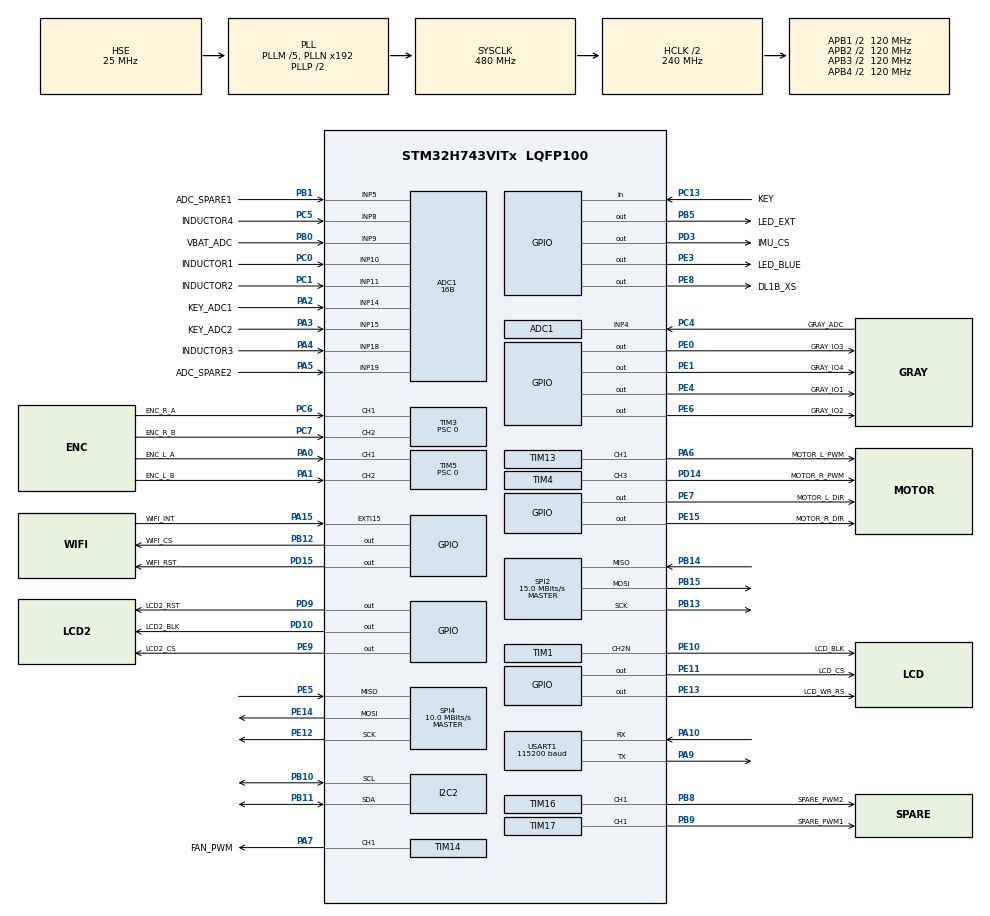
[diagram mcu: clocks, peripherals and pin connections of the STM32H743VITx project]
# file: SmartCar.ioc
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ADC1.Channel-0\#ChannelRegularConversion=ADC_CHANNEL_10
ADC1.Channel-1\#ChannelRegularConversion=ADC_CHANNEL_11
ADC1.Channel-2\#ChannelRegularConversion=ADC_CHANNEL_18
ADC1.Channel-3\#ChannelRegularConversion=ADC_CHANNEL_8
ADC1.Channel-4\#ChannelRegularConversion=ADC_CHANNEL_4
ADC1.Channel-5\#ChannelRegularConversion=ADC_CHANNEL_14
ADC1.Channel-6\#ChannelRegularConversion=ADC_CHANNEL_15
ADC1.Channel-7\#ChannelRegularConversion=ADC_CHANNEL_9
ADC1.Channel-8\#ChannelRegularConversion=ADC_CHANNEL_5
ADC1.Channel-9\#ChannelRegularConversion=ADC_CHANNEL_19
ADC1.ClockPrescaler=ADC_CLOCK_ASYNC_DIV2
ADC1.ContinuousConvMode=ENABLE
ADC1.ConversionDataManagement=ADC_CONVERSIONDATA_DMA_CIRCULAR
ADC1.EOCSelection=ADC_EOC_SEQ_CONV
ADC1.NbrOfConversion=10
ADC1.NbrOfConversionFlag=1
ADC1.Rank-0\#ChannelRegularConversion=1
ADC1.Rank-1\#ChannelRegularConversion=2
ADC1.Rank-2\#ChannelRegularConversion=3
ADC1.Rank-3\#ChannelRegularConversion=4
ADC1.Rank-4\#ChannelRegularConversion=5
ADC1.Rank-5\#ChannelRegularConversion=6
ADC1.Rank-6\#ChannelRegularConversion=7
ADC1.Rank-7\#ChannelRegularConversion=8
ADC1.Rank-8\#ChannelRegularConversion=9
ADC1.Rank-9\#ChannelRegularConversion=10
ADC1.Resolution=ADC_RESOLUTION_16B
ADC1.SamplingTime-0\#ChannelRegularConversion=ADC_SAMPLETIME_16CYCLES_5
ADC1.SamplingTime-1\#ChannelRegularConversion=ADC_SAMPLETIME_16CYCLES_5
ADC1.SamplingTime-2\#ChannelRegularConversion=ADC_SAMPLETIME_16CYCLES_5
ADC1.SamplingTime-3\#ChannelRegularConversion=ADC_SAMPLETIME_16CYCLES_5
ADC1.SamplingTime-4\#ChannelRegularConversion=ADC_SAMPLETIME_16CYCLES_5
ADC1.SamplingTime-5\#ChannelRegularConversion=ADC_SAMPLETIME_16CYCLES_5
ADC1.SamplingTime-6\#ChannelRegularConversion=ADC_SAMPLETIME_16CYCLES_5
ADC1.SamplingTime-7\#ChannelRegularConversion=ADC_SAMPLETIME_16CYCLES_5
ADC1.SamplingTime-8\#ChannelRegularConversion=ADC_SAMPLETIME_16CYCLES_5
ADC1.SamplingTime-9\#ChannelRegularConversion=ADC_SAMPLETIME_16CYCLES_5
ADC1.ScanConvMode=ADC_SCAN_ENABLE
ADC1.master=1
CORTEX_M7.CPU_DCache=Disabled
CORTEX_M7.CPU_ICache=Enabled
Dma.ADC1.0.Direction=DMA_PERIPH_TO_MEMORY
Dma.ADC1.0.EventEnable=DISABLE
Dma.ADC1.0.FIFOMode=DMA_FIFOMODE_DISABLE
Dma.ADC1.0.Instance=DMA1_Stream0
Dma.ADC1.0.MemDataAlignment=DMA_MDATAALIGN_HALFWORD
Dma.ADC1.0.MemInc=DMA_MINC_ENABLE
Dma.ADC1.0.Mode=DMA_CIRCULAR
Dma.ADC1.0.PeriphDataAlignment=DMA_PDATAALIGN_HALFWORD
Dma.ADC1.0.PeriphInc=DMA_PINC_DISABLE
Dma.ADC1.0.Polarity=HAL_DMAMUX_REQ_GEN_RISING
Dma.ADC1.0.Priority=DMA_PRIORITY_HIGH
Dma.ADC1.0.RequestNumber=1
Dma.ADC1.0.SignalID=NONE
Dma.ADC1.0.SyncEnable=DISABLE
Dma.ADC1.0.SyncPolarity=HAL_DMAMUX_SYNC_NO_EVENT
Dma.ADC1.0.SyncRequestNumber=1
Dma.ADC1.0.SyncSignalID=NONE
Dma.Request0=ADC1
I2C2.Timing=0x50921113
Mcu.Family=STM32H7
Mcu.Name=STM32H743VITx
Mcu.Package=LQFP100
NVIC.DMA1_Stream0_IRQn=true\:2\:0\:false\:false\:true\:false\:true\:true
NVIC.EXTI15_10_IRQn=true\:4\:0\:false\:false\:true\:false\:true\:true
NVIC.PriorityGroup=NVIC_PRIORITYGROUP_4
NVIC.TIM6_DAC_IRQn=true\:0\:0\:false\:false\:true\:false\:true\:true
NVIC.TIM7_IRQn=true\:1\:0\:false\:false\:true\:false\:true\:true
NVIC.USART1_IRQn=true\:3\:0\:false\:false\:true\:false\:true\:true
PA0.GPIO_Label=ENC_L_A
PA0.GPIO_PuPd=GPIO_PULLUP
PA0.Signal=S_TIM5_CH1
PA1.GPIO_Label=ENC_L_B
PA1.GPIO_PuPd=GPIO_PULLUP
PA1.Signal=S_TIM5_CH2
PA10.Mode=Asynchronous
PA10.Signal=USART1_RX
PA13\ (JTMS/SWDIO).Mode=Serial_Wire
PA13\ (JTMS/SWDIO).Signal=DEBUG_JTMS-SWDIO
PA14\ (JTCK/SWCLK).Mode=Serial_Wire
PA14\ (JTCK/SWCLK).Signal=DEBUG_JTCK-SWCLK
PA15\ (JTDI).GPIO_Label=WIFI_INT
PA15\ (JTDI).GPIO_ModeDefaultEXTI=GPIO_MODE_IT_FALLING
PA15\ (JTDI).GPIO_PuPd=GPIO_PULLUP
PA15\ (JTDI).Signal=GPXTI15
PA2.GPIO_Label=KEY_ADC1
PA2.Signal=ADCx_INP14
PA3.GPIO_Label=KEY_ADC2
PA3.Signal=ADCx_INP15
PA4.GPIO_Label=INDUCTOR3
PA4.Signal=ADCx_INP18
PA5.GPIO_Label=ADC_SPARE2
PA5.Signal=ADCx_INP19
PA6.GPIO_Label=MOTOR_L_PWM
PA6.Signal=S_TIM13_CH1
PA7.GPIO_Label=FAN_PWM
PA7.Signal=S_TIM14_CH1
PA9.Mode=Asynchronous
PA9.Signal=USART1_TX
PB0.GPIO_Label=VBAT_ADC
PB0.Signal=ADCx_INP9
PB1.GPIO_Label=ADC_SPARE1
PB1.Signal=ADCx_INP5
PB10.GPIO_Pu=GPIO_PULLUP
PB10.Mode=I2C
PB10.Signal=I2C2_SCL
PB11.GPIO_Pu=GPIO_PULLUP
PB11.Mode=I2C
PB11.Signal=I2C2_SDA
PB12.GPIO_Label=WIFI_CS
PB12.PinState=GPIO_PIN_SET
PB12.Signal=GPIO_Output
PB13.Mode=Full_Duplex_Master
PB13.Signal=SPI2_SCK
PB13.GPIO_Speed=GPIO_SPEED_FREQ_VERY_HIGH
PB14.Mode=Full_Duplex_Master
PB14.Signal=SPI2_MISO
PB14.GPIO_Speed=GPIO_SPEED_FREQ_VERY_HIGH
PB15.Mode=Full_Duplex_Master
PB15.Signal=SPI2_MOSI
PB15.GPIO_Speed=GPIO_SPEED_FREQ_VERY_HIGH
PB5.GPIO_Label=LED_EXT
PB5.PinState=GPIO_PIN_RESET
PB5.Signal=GPIO_Output
PB8.GPIO_Label=SPARE_PWM2
PB8.Signal=S_TIM16_CH1
PB9.GPIO_Label=SPARE_PWM1
PB9.Signal=S_TIM17_CH1
PC0.GPIO_Label=INDUCTOR1
PC0.Signal=ADCx_INP10
PC1.GPIO_Label=INDUCTOR2
PC1.Signal=ADCx_INP11
PC13.GPIO_Label=KEY
PC13.GPIO_PuPd=GPIO_PULLDOWN
PC13.Signal=GPIO_Input
PC14-OSC32_IN\ (OSC32_IN).Mode=LSE-External-Oscillator
PC14-OSC32_IN\ (OSC32_IN).Signal=RCC_OSC32_IN
PC15-OSC32_OUT\ (OSC32_OUT).Mode=LSE-External-Oscillator
PC15-OSC32_OUT\ (OSC32_OUT).Signal=RCC_OSC32_OUT
PC4.GPIO_Label=GRAY_ADC
PC4.Signal=ADCx_INP4
PC5.GPIO_Label=INDUCTOR4
PC5.Signal=ADCx_INP8
PC6.GPIO_Label=ENC_R_A
PC6.GPIO_PuPd=GPIO_PULLUP
PC6.Signal=S_TIM3_CH1
PC7.GPIO_Label=ENC_R_B
PC7.GPIO_PuPd=GPIO_PULLUP
PC7.Signal=S_TIM3_CH2
PD10.GPIO_Label=LCD2_BLK
PD10.PinState=GPIO_PIN_SET
PD10.Signal=GPIO_Output
PD14.GPIO_Label=MOTOR_R_PWM
PD14.Signal=S_TIM4_CH3
PD15.GPIO_Label=WIFI_RST
PD15.PinState=GPIO_PIN_SET
PD15.Signal=GPIO_Output
PD3.GPIO_Label=IMU_CS
PD3.PinState=GPIO_PIN_SET
PD3.Signal=GPIO_Output
PD9.GPIO_Label=LCD2_RST
PD9.PinState=GPIO_PIN_SET
PD9.Signal=GPIO_Output
PE0.GPIO_Label=GRAY_IO3
PE0.Signal=GPIO_Output
PE1.GPIO_Label=GRAY_IO4
PE1.Signal=GPIO_Output
PE10.GPIO_Label=LCD_BLK
PE10.Mode=PWM Generation2 CH2N
PE10.Signal=TIM1_CH2N
PE11.GPIO_Label=LCD_CS
PE11.GPIO_Speed=GPIO_SPEED_FREQ_VERY_HIGH
PE11.PinState=GPIO_PIN_SET
PE11.Signal=GPIO_Output
PE12.Mode=Full_Duplex_Master
PE12.Signal=SPI4_SCK
PE12.GPIO_Speed=GPIO_SPEED_FREQ_VERY_HIGH
PE13.GPIO_Label=LCD_WR_RS
PE13.GPIO_Speed=GPIO_SPEED_FREQ_VERY_HIGH
PE13.PinState=GPIO_PIN_SET
PE13.Signal=GPIO_Output
PE14.Mode=Full_Duplex_Master
PE14.Signal=SPI4_MOSI
PE14.GPIO_Speed=GPIO_SPEED_FREQ_VERY_HIGH
PE15.GPIO_Label=MOTOR_R_DIR
PE15.PinState=GPIO_PIN_RESET
PE15.Signal=GPIO_Output
PE3.GPIO_Label=LED_BLUE
PE3.PinState=GPIO_PIN_RESET
PE3.Signal=GPIO_Output
PE4.GPIO_Label=GRAY_IO1
PE4.Signal=GPIO_Output
PE5.Mode=Full_Duplex_Master
PE5.Signal=SPI4_MISO
PE5.GPIO_Speed=GPIO_SPEED_FREQ_VERY_HIGH
PE6.GPIO_Label=GRAY_IO2
PE6.Signal=GPIO_Output
PE7.GPIO_Label=MOTOR_L_DIR
PE7.PinState=GPIO_PIN_RESET
PE7.Signal=GPIO_Output
PE8.GPIO_Label=DL1B_XS
PE8.PinState=GPIO_PIN_RESET
PE8.Signal=GPIO_Output
PE9.GPIO_Label=LCD2_CS
PE9.PinState=GPIO_PIN_SET
PE9.Signal=GPIO_Output
PH0-OSC_IN\ (PH0).Mode=HSE-External-Oscillator
PH0-OSC_IN\ (PH0).Signal=RCC_OSC_IN
PH1-OSC_OUT\ (PH1).Mode=HSE-External-Oscillator
PH1-OSC_OUT\ (PH1).Signal=RCC_OSC_OUT
ProjectManager.HeapSize=0x200
ProjectManager.StackSize=0x400
ProjectManager.TargetToolchain=MDK-ARM V5.27
RCC.ADCFreq_Value=83333333.33333333
RCC.APB1Freq_Value=120000000
RCC.APB2Freq_Value=120000000
RCC.APB3Freq_Value=120000000
RCC.APB4Freq_Value=120000000
RCC.CortexFreq_Value=480000000
RCC.DIVM1=5
RCC.DIVM2=6
RCC.DIVN1=192
RCC.DIVN2=40
RCC.DIVQ2=1
RCC.HCLKFreq_Value=240000000
RCC.HPRE=RCC_HCLK_DIV2
RCC.APB1CLKDivider=RCC_APB1_DIV2
RCC.APB2CLKDivider=RCC_APB2_DIV2
RCC.APB3CLKDivider=RCC_APB3_DIV2
RCC.APB4CLKDivider=RCC_APB4_DIV2
RCC.HSE_VALUE=25000000
RCC.PLLFRACN=0
RCC.PLLSourceVirtual=RCC_PLLSOURCE_HSE
RCC.PWR_Regulator_Voltage_Scale=PWR_REGULATOR_VOLTAGE_SCALE0
RCC.RTCClockSelection=RCC_RTCCLKSOURCE_LSE
RCC.SYSCLKFreq_VALUE=480000000
RCC.SYSCLKSource=RCC_SYSCLKSOURCE_PLLCLK
RCC.USBFreq_Value=240000000
SH.ADCx_INP10.0=ADC1_INP10,IN10-Single-Ended
SH.ADCx_INP11.0=ADC1_INP11,IN11-Single-Ended
SH.ADCx_INP14.0=ADC1_INP14,IN14-Single-Ended
SH.ADCx_INP15.0=ADC1_INP15,IN15-Single-Ended
SH.ADCx_INP18.0=ADC1_INP18,IN18-Single-Ended
SH.ADCx_INP19.0=ADC1_INP19,IN19-Single-Ended
SH.ADCx_INP4.0=ADC1_INP4,IN4-Single-Ended
SH.ADCx_INP5.0=ADC1_INP5,IN5-Single-Ended
SH.ADCx_INP8.0=ADC1_INP8,IN8-Single-Ended
SH.ADCx_INP9.0=ADC1_INP9,IN9-Single-Ended
SH.S_TIM13_CH1.0=TIM13_CH1,PWM Generation1 CH1
SH.S_TIM14_CH1.0=TIM14_CH1,PWM Generation1 CH1
SH.S_TIM16_CH1.0=TIM16_CH1,PWM Generation1 CH1
SH.S_TIM17_CH1.0=TIM17_CH1,PWM Generation1 CH1
SH.S_TIM3_CH1.0=TIM3_CH1,Encoder_Interface
SH.S_TIM3_CH2.0=TIM3_CH2,Encoder_Interface
SH.S_TIM4_CH3.0=TIM4_CH3,PWM Generation3 CH3
SH.S_TIM5_CH1.0=TIM5_CH1,Encoder_Interface
SH.S_TIM5_CH2.0=TIM5_CH2,Encoder_Interface
SPI2.BaudRatePrescaler=SPI_BAUDRATEPRESCALER_32
SPI2.CalculateBaudRate=15.0 MBits/s
SPI2.DataSize=SPI_DATASIZE_8BIT
SPI2.Direction=SPI_DIRECTION_2LINES
SPI2.Mode=SPI_MODE_MASTER
SPI2.VirtualType=VM_MASTER
SPI4.BaudRatePrescaler=SPI_BAUDRATEPRESCALER_8
SPI4.CalculateBaudRate=10.0 MBits/s
SPI4.DataSize=SPI_DATASIZE_8BIT
SPI4.Direction=SPI_DIRECTION_2LINES
SPI4.Mode=SPI_MODE_MASTER
SPI4.VirtualType=VM_MASTER
TIM1.Channel-PWM\ Generation2\ CH2N=TIM_CHANNEL_2
TIM1.OCNPolarity_2=TIM_OCNPOLARITY_LOW
TIM1.Period=1000-1
TIM1.Prescaler=24-1
TIM1.Pulse-PWM\ Generation2\ CH2N=0
TIM13.Channel=TIM_CHANNEL_1
TIM13.Channel-PWM\ Generation1\ CH1=TIM_CHANNEL_1
TIM13.Period=7059-1
TIM13.Prescaler=2-1
TIM13.Pulse-PWM\ Generation1\ CH1=0
TIM14.Channel=TIM_CHANNEL_1
TIM14.Channel-PWM\ Generation1\ CH1=TIM_CHANNEL_1
TIM14.Period=7059-1
TIM14.Prescaler=2-1
TIM14.Pulse-PWM\ Generation1\ CH1=0
TIM16.Channel=TIM_CHANNEL_1
TIM16.Channel-PWM\ Generation1\ CH1=TIM_CHANNEL_1
TIM16.Period=7059-1
TIM16.Prescaler=2-1
TIM16.Pulse-PWM\ Generation1\ CH1=0
TIM17.Channel=TIM_CHANNEL_1
TIM17.Channel-PWM\ Generation1\ CH1=TIM_CHANNEL_1
TIM17.Period=7059-1
TIM17.Prescaler=2-1
TIM17.Pulse-PWM\ Generation1\ CH1=0
TIM3.EncoderMode=TIM_ENCODERMODE_TI12
TIM3.IC1Filter=6
TIM3.IC1Polarity=TIM_ICPOLARITY_RISING
TIM3.IC1Prescaler=TIM_ICPSC_DIV1
TIM3.IC1Selection=TIM_ICSELECTION_DIRECTTI
TIM3.IC2Filter=6
TIM3.IC2Polarity=TIM_ICPOLARITY_RISING
TIM3.IC2Prescaler=TIM_ICPSC_DIV1
TIM3.IC2Selection=TIM_ICSELECTION_DIRECTTI
TIM3.Period=65535
TIM3.Prescaler=0
TIM4.Channel-PWM\ Generation3\ CH3=TIM_CHANNEL_3
TIM4.Period=7059-1
TIM4.Prescaler=2-1
TIM4.Pulse-PWM\ Generation3\ CH3=0
TIM5.EncoderMode=TIM_ENCODERMODE_TI12
TIM5.IC1Filter=6
TIM5.IC1Polarity=TIM_ICPOLARITY_RISING
TIM5.IC1Prescaler=TIM_ICPSC_DIV1
TIM5.IC1Selection=TIM_ICSELECTION_DIRECTTI
TIM5.IC2Filter=6
TIM5.IC2Polarity=TIM_ICPOLARITY_RISING
TIM5.IC2Prescaler=TIM_ICPSC_DIV1
TIM5.IC2Selection=TIM_ICSELECTION_DIRECTTI
TIM5.Period=65535
TIM5.Prescaler=0
TIM6.Period=2000-1
TIM6.Prescaler=240-1
TIM7.Period=5000-1
TIM7.Prescaler=240-1
USART1.BaudRate=115200
USART1.VirtualMode-Asynchronous=VM_ASYNC
VP_TIM13_VS_ClockSourceINT.Mode=Enable_Timer
VP_TIM14_VS_ClockSourceINT.Mode=Enable_Timer
VP_TIM16_VS_ClockSourceINT.Mode=Enable_Timer
VP_TIM17_VS_ClockSourceINT.Mode=Enable_Timer
VP_TIM6_VS_ClockSourceINT.Mode=Enable_Timer
VP_TIM7_VS_ClockSourceINT.Mode=Enable_Timer
VP_VREFBUF_V_VREFBUF.Mode=ExternalMode
board=custom

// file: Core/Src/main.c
/* USER CODE BEGIN Header */
/**
  ******************************************************************************
  * @file           : main.c
  * @brief          : 主程序主体
 * @note Core用户区在PLL3补丁后分派独立板测，NONE桥接原App；生成区及ST版权/许可保持。
  ******************************************************************************
  * @attention
  *
  * Copyright (c) 2026 STMicroelectronics.
  * All rights reserved.
  *
  * This software is licensed under terms that can be found in the LICENSE file
  * in the root directory of this software component.
  * If no LICENSE file comes with this software, it is provided AS-IS.
  *
  ******************************************************************************
  */
/* USER CODE END Header */
/* 包含头文件 ------------------------------------------------------------------*/
#include "main.h"
#include "adc.h"
#include "dma.h"
#include "i2c.h"
#include "spi.h"
#include "tim.h"
#include "usart.h"
#include "gpio.h"

/* 私有包含 ----------------------------------------------------------*/
/* USER CODE BEGIN Includes */
#include "app.h"
#include "system/board_test.h"
/* USER CODE END Includes */

/* 私有类型定义 -----------------------------------------------------------*/

/* 私有定义 ------------------------------------------------------------*/

/* 私有宏 -------------------------------------------------------------*/

/* 私有变量 ---------------------------------------------------------*/

/* 私有函数原型 -----------------------------------------------*/
void SystemClock_Config(void);

/* 私有用户代码 ---------------------------------------------------------*/

/**
  * @brief  应用程序入口点。
  * @retval int
  */
int main(void)
{

  /* 使能 CPU 缓存 */

  /* 使能 I-Cache---------------------------------------------------------*/
  SCB_EnableICache();

  /* MCU 配置--------------------------------------------------------*/

  /* 复位所有外设，初始化 Flash 接口和 SysTick 系统滴答定时器。 */
  HAL_Init();

  /* 配置系统时钟 */
  SystemClock_Config();

  /* USER CODE BEGIN SysInit */
    /* SPI4/SPI5 内核时钟改接 PLL3Q=80MHz（HSE25/M5×N64/Q4），SPI4 8 分频得 10MHz
       *（IMU660RB/LSM6DSR SPI 上限 10MHz；原 APB4 120MHz÷16=7.5MHz） */
    {
        RCC_PeriphCLKInitTypeDef periph_clk_init = {0};
        periph_clk_init.PeriphClockSelection = RCC_PERIPHCLK_SPI45;
        periph_clk_init.PLL3.PLL3M = 5;
        periph_clk_init.PLL3.PLL3N = 64; /* VCO 320MHz */
        periph_clk_init.PLL3.PLL3P = 2;
        periph_clk_init.PLL3.PLL3Q = 4; /* PLL3Q = 80MHz */
        periph_clk_init.PLL3.PLL3R = 2;
        periph_clk_init.PLL3.PLL3RGE = RCC_PLL3VCIRANGE_2;   /* 输入 5MHz */
        periph_clk_init.PLL3.PLL3VCOSEL = RCC_PLL3VCOMEDIUM; /* 320MHz 中等 VCO */
        periph_clk_init.PLL3.PLL3FRACN = 0;
        periph_clk_init.Spi45ClockSelection = RCC_SPI45CLKSOURCE_PLL3;
        if (HAL_RCCEx_PeriphCLKConfig(&periph_clk_init) != HAL_OK)
        {
            Error_Handler();
        }
        /* 实测 HAL_RCCEx_PeriphCLKConfig 未生效（D2CCIP1R.SPI45SEL 读出为 0），
         * 此处直接写复用选择寄存器，SPI4/5 内核时钟 = PLL3Q 80MHz */
        MODIFY_REG(RCC->D2CCIP1R, RCC_D2CCIP1R_SPI45SEL, RCC_SPI45CLKSOURCE_PLL3);
    }
#if BOARD_TEST_SELECT != BOARD_TEST_NONE
    BoardTest_Run();
    while (1)
    {
        /* 独立测试意外返回时仍不进入正常启动。 */
    }
#endif
  /* USER CODE END SysInit */

  /* 初始化所有已配置的外设 */
  MX_GPIO_Init();
  MX_DMA_Init();
  MX_ADC1_Init();
  MX_I2C2_Init();
  MX_SPI2_Init();
  MX_SPI4_Init();
  MX_TIM1_Init();
  MX_TIM3_Init();
  MX_TIM4_Init();
  MX_TIM5_Init();
  MX_TIM6_Init();
  MX_TIM7_Init();
  MX_TIM13_Init();
  MX_TIM14_Init();
  MX_TIM16_Init();
  MX_TIM17_Init();
  MX_USART1_UART_Init();
  /* USER CODE BEGIN 2 */
    App_Init();
  /* USER CODE END 2 */

  /* 无限循环 */
  /* USER CODE BEGIN WHILE */
    while (1)
    {
        App_Loop();
    /* USER CODE END WHILE */

    }
}

/**
  * @brief 系统时钟配置
  * @retval None
  */
void SystemClock_Config(void)
{
  RCC_OscInitTypeDef RCC_OscInitStruct = {0};
  RCC_ClkInitTypeDef RCC_ClkInitStruct = {0};

  /** 使能供电配置更新
  */
  HAL_PWREx_ConfigSupply(PWR_LDO_SUPPLY);

  /** 配置主内部稳压器输出电压
  */
  __HAL_PWR_VOLTAGESCALING_CONFIG(PWR_REGULATOR_VOLTAGE_SCALE1);

  while(!__HAL_PWR_GET_FLAG(PWR_FLAG_VOSRDY)) {}

  __HAL_RCC_SYSCFG_CLK_ENABLE();
  __HAL_PWR_VOLTAGESCALING_CONFIG(PWR_REGULATOR_VOLTAGE_SCALE0);

  while(!__HAL_PWR_GET_FLAG(PWR_FLAG_VOSRDY)) {}

  /** 按照 RCC_OscInitTypeDef 结构体中指定的参数
  * 初始化 RCC 振荡器。
  */
  RCC_OscInitStruct.OscillatorType = RCC_OSCILLATORTYPE_HSE;
  RCC_OscInitStruct.HSEState = RCC_HSE_ON;
  RCC_OscInitStruct.PLL.PLLState = RCC_PLL_ON;
  RCC_OscInitStruct.PLL.PLLSource = RCC_PLLSOURCE_HSE;
  RCC_OscInitStruct.PLL.PLLM = 5;
  RCC_OscInitStruct.PLL.PLLN = 192;
  RCC_OscInitStruct.PLL.PLLP = 2;
  RCC_OscInitStruct.PLL.PLLQ = 2;
  RCC_OscInitStruct.PLL.PLLR = 2;
  RCC_OscInitStruct.PLL.PLLRGE = RCC_PLL1VCIRANGE_2;
  RCC_OscInitStruct.PLL.PLLVCOSEL = RCC_PLL1VCOWIDE;
  RCC_OscInitStruct.PLL.PLLFRACN = 0;
  if (HAL_RCC_OscConfig(&RCC_OscInitStruct) != HAL_OK)
  {
    Error_Handler();
  }

  /** 初始化 CPU、AHB 和 APB 总线时钟
  */
  RCC_ClkInitStruct.ClockType = RCC_CLOCKTYPE_HCLK|RCC_CLOCKTYPE_SYSCLK
                              |RCC_CLOCKTYPE_PCLK1|RCC_CLOCKTYPE_PCLK2
                              |RCC_CLOCKTYPE_D3PCLK1|RCC_CLOCKTYPE_D1PCLK1;
  RCC_ClkInitStruct.SYSCLKSource = RCC_SYSCLKSOURCE_PLLCLK;
  RCC_ClkInitStruct.SYSCLKDivider = RCC_SYSCLK_DIV1;
  RCC_ClkInitStruct.AHBCLKDivider = RCC_HCLK_DIV2;
  RCC_ClkInitStruct.APB3CLKDivider = RCC_APB3_DIV2;
  RCC_ClkInitStruct.APB1CLKDivider = RCC_APB1_DIV2;
  RCC_ClkInitStruct.APB2CLKDivider = RCC_APB2_DIV2;
  RCC_ClkInitStruct.APB4CLKDivider = RCC_APB4_DIV2;

  if (HAL_RCC_ClockConfig(&RCC_ClkInitStruct, FLASH_LATENCY_4) != HAL_OK)
  {
    Error_Handler();
  }
}

/**
  * @brief  发生错误时执行此函数。
  * @retval None
  */
void Error_Handler(void)
{
  /* USER CODE BEGIN Error_Handler_Debug */
    /* 用户可以添加自己的实现来报告 HAL 错误返回状态 */
    __disable_irq();
    while (1)
    {
        /* 保持原异常原地等待，不新增恢复或外设操作。 */
    }
  /* USER CODE END Error_Handler_Debug */
}

#ifdef  USE_FULL_ASSERT
/**
  * @brief  报告 assert_param 错误发生处的源文件名和源代码行号。
  * @param  file: 指向源文件名的指针
  * @param  line: assert_param 错误发生的源代码行号
  * @retval None
  */
void assert_failed(uint8_t *file, uint32_t line)
{
  /* USER CODE BEGIN 6 */
    /* 用户可以添加自己的实现来报告出错的文件名和行号，
         例如: printf("Wrong parameters value: file %s on line %d\r\n", file, line) */
  /* USER CODE END 6 */
}
#endif /* USE_FULL_ASSERT */
